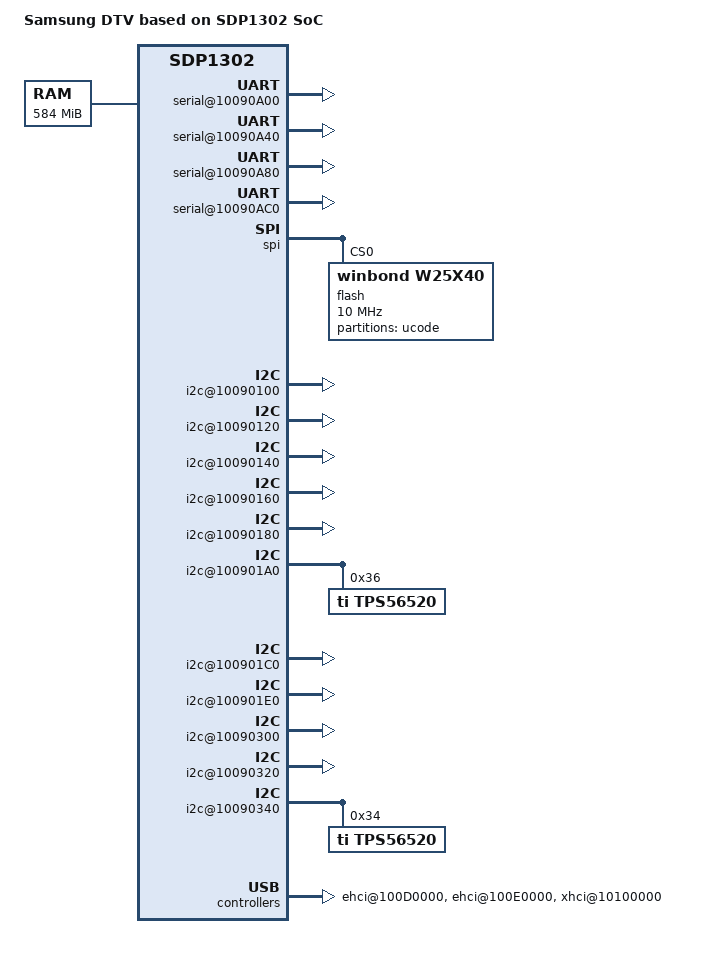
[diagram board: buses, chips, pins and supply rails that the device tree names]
/*
 * Copyright (C) 2013 Samsung Electronics Co.Ltd
 *
 * This program is free software; you can redistribute it and/or modify
 * it under the terms of the GNU General Public License version 2 as
 * published by the Free Software Foundation.
 */

/dts-v1/;
/include/ "sdp1302.dtsi"

/ {
	model = "Samsung DTV based on SDP1302 SoC";
	compatible = "samsung,dtv", "samsung,sdp1302";

	memory {
		device_type = "memory";
		reg =  <0x80000000 0xB800000>, <0xc0000000 0x19000000>;
	};

	chosen {
		bootargs = "console=ttyS1,115200N8 root=/dev/mmcblk0p7 rootfstype=squashfs rootwait earlyprintk no_console_suspend SELP_ENABLE=20102011 sdp_sparsemem vmalloc=350M";
	};

	fixed-rate-clocks {
		fin {
			compatible = "samsung,sdp-clock-fin";
			clock-frequency = <24576000>;
		};
		fin-lvds {
			compatible = "samsung,sdp-clock-fin-lvds";
			clock-frequency = <27000000>;
		};
	};

	serial@10090A00 {
		status = "okay";
	};

	serial@10090A40 {
		status = "okay";
	};

	serial@10090A80 {
		status = "okay";
	};

	serial@10090AC0 {
		status = "okay";
	};

	ethernet@100B0000 {
	};

	mmc {
		hs200;/* enable HS200 */
	};

	spi: ssp@0x10090200 {
		status = "okay";

		flash: w25x40@0 {
			#address-cells = <1>;
			#size-cells = <1>;
			compatible = "winbond,w25x40";
			spi-max-frequency = <10000000>;
			reg = <0>;

			partition@0 {
				label = "ucode";
				reg = <0x0 0x80000>;
			};
		};
	};

	i2c@10090100 {
		status = "okay";
		samsung,i2c-sda-delay = <1>;
		samsung,i2c-max-bus-freq = <400000>;
		samsung,i2c-irq-status-reg = <0x100901F4>;
		samsung,i2c-cpu-affinity = <3>;
	};

	i2c@10090120 {
		status = "okay";
		samsung,i2c-sda-delay = <1>;
		samsung,i2c-max-bus-freq = <400000>;
		samsung,i2c-irq-status-reg = <0x100901F4>;
		samsung,i2c-cpu-affinity = <3>;
	};

	i2c@10090140 { 
		status = "okay";
		samsung,i2c-sda-delay = <1>;
		samsung,i2c-max-bus-freq = <400000>;
		samsung,i2c-irq-status-reg = <0x100901F4>;
		samsung,i2c-cpu-affinity = <3>;
	};

	i2c@10090160 {
		status = "okay";
		samsung,i2c-sda-delay = <1>;
		samsung,i2c-max-bus-freq = <400000>;
		samsung,i2c-irq-status-reg = <0x100901F4>;
		samsung,i2c-cpu-affinity = <3>;
	};

	i2c@10090180 {
		status = "okay";
		samsung,i2c-sda-delay = <2>;
		samsung,i2c-max-bus-freq = <400000>;
		samsung,i2c-irq-status-reg = <0x100901F4>;
		samsung,i2c-cpu-affinity = <3>;
	};

	i2c@100901A0 {
		status = "okay";
		samsung,i2c-sda-delay = <1>;
		samsung,i2c-max-bus-freq = <400000>;
		samsung,i2c-irq-status-reg = <0x100901F4>;
		samsung,i2c-cpu-affinity = <3>;

		tps56520@36 {
			compatible = "ti,tps56520";
			reg = <0x36>;

			regulator-name = "CPU_PW";
			regulator-min-microvolt = <720000>;
			regulator-max-microvolt = <1480000>;
			regulator-always-on;
			regulator-boot-on;

			default_volt = <1350000>;
		};
	};

	i2c@100901C0 {
		status = "okay";
		samsung,i2c-sda-delay = <1>;
		samsung,i2c-max-bus-freq = <400000>;
		samsung,i2c-irq-status-reg = <0x100901F4>;
		samsung,i2c-cpu-affinity = <3>;
	};

	i2c@100901E0 {
		status = "okay";
		samsung,i2c-sda-delay = <1>;
		samsung,i2c-max-bus-freq = <400000>;
		samsung,i2c-irq-status-reg = <0x100901F4>;
		samsung,i2c-cpu-affinity = <3>;

	};

	i2c@10090300 {
		status = "okay";
		samsung,i2c-sda-delay = <1>;
		samsung,i2c-max-bus-freq = <400000>;
		samsung,i2c-irq-status-reg = <0x100903F4>;
		samsung,i2c-cpu-affinity = <3>;
	};
	
	i2c@10090320 {
		status = "okay";
		samsung,i2c-sda-delay = <1>;
		samsung,i2c-max-bus-freq = <400000>;
		samsung,i2c-irq-status-reg = <0x100903F4>;
		samsung,i2c-cpu-affinity = <3>;

	};
	
	i2c@10090340 {
		status = "okay";
		samsung,i2c-sda-delay = <1>;
		samsung,i2c-max-bus-freq = <400000>;
		samsung,i2c-irq-status-reg = <0x100903F4>;
		samsung,i2c-cpu-affinity = <3>;

		tps56520@34 {
			compatible = "ti,tps56520";
			reg = <0x34>;

			regulator-name = "CORE_PW";
			regulator-min-microvolt = <720000>;
			regulator-max-microvolt = <1480000>;
			regulator-always-on;
			regulator-boot-on;

			default_volt = <1300000>;
		};
	};

/*
	i2c-gpio-0 {
		compatible = "i2c-gpio";
		gpios = <&gpio1 2 0>, <&gpio1 1 0>;
		#address-cells = <1>;
		#size-cells = <0>;

		panel@76 {
			compatible = "samsung,foxft1-tcon";
			reg = <0x76>;
		};
	};
*/

	dummy_panel {
		compatible = "dummy_panel";

		display-timings {
			native-mode = <&timing0>;

			timing0: timing-0 {
				 clock-frequency = <0>;
				 hactive = <1920>;
				 vactive = <1080>;
				 hfront-porch = <0>;
				 hback-porch = <0>;
				 hsync-len = <0>;
				 vfront-porch = <0>;
				 vback-porch = <0>;
				 vsync-len = <0>;
			};
		};
	};

	ehci@100D0000 {
		status = "okay";
		samsung,synopsys-portreset-bug;
		samsung,sw-reset = <0x10090000 0x958 0x100000>;
		samsung,ehci-link-set = <0x100C0000 0x00 0x1e000>;
		samsung,ehci-24.576Mhz = <0x10090000 0x930 0x1000000>;
		samsung,vbus-enable = <0x10090000 0xD18 0x00000003 0x01>;
		samsung,hsic-reset = <0x10090000 0xDA8 0x00000030 0x02>;//ok
		hsic-i2c-ch = <8 10>;
	};

	ehci@100E0000 {
		status = "okay";
		samsung,synopsys-portreset-bug;
		samsung,sw-reset = <0x10090000 0x958 0x200000>;
		samsung,ehci-link-set = <0x100C0000 0x08 0x1e000>;
	//	samsung,vbus-enable = <0x10090000 0xDA8 0x00000030>;
		samsung,hsic-reset = <0x10090000 0xDA8 0x00000300 0x04>;
		hsic-i2c-ch = <8 10>;
	};
	
	xhci@10100000 {
		status = "okay";
	};

	tmu@10090CDC {
		status = "okay";
		
		sensor_id = <0>;

		start_zero_throttle	= <40>;
		stop_zero_throttle	= <45>;
		stop_1st_throttle	= <102>;
		start_1st_throttle	= <110>;
		stop_2nd_throttle	= <112>;
		start_2nd_throttle	= <118>;
		stop_3rd_throttle	= <120>;
		start_3rd_throttle	= <125>;

		cpu_limit_1st_throttle	= <700000>;
		cpu_limit_2nd_throttle	= <400000>;
		cpu_limit_3rd_throttle	= <100000>;

		gpu_limit_1st_throttle	= <250000>;
		gpu_limit_2nd_throttle	= <200000>;
		gpu_limit_3rd_throttle	= <50000>;

		log_file_path = "/mtd_rwarea/ThermalThrottle.txt";
	};
};
